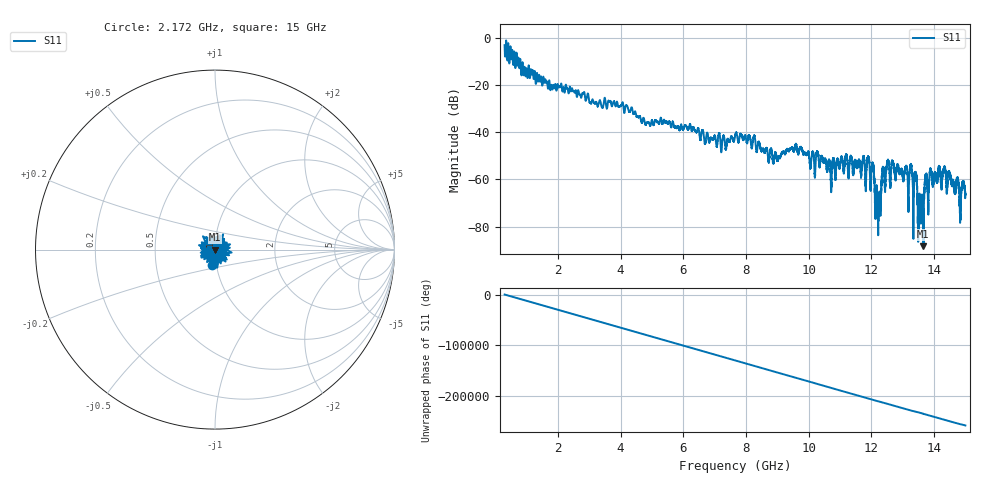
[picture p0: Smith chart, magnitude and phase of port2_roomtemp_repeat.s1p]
# GHZ S RI R 50.0
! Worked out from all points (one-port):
!   12801 points, 300 MHz to 15 GHz, reference 50 ohm
!   lowest |S11| = -88.2 dB at 13.66 GHz (marker M1), VSWR 1.00, Z = 50 - j0.00252 ohm
!   |S11| at or under -10 dB: 624.8 MHz to 662.3 MHz (37.53 MHz wide, 5.83 % of centre); 748.4 MHz to 790.7 MHz (42.32 MHz wide, 5.5 % of centre); 805.6 MHz to end of sweep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
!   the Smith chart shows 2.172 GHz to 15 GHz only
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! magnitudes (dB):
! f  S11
! 300 MHz  -3.1
! 966.1 MHz  -16.2
! 2.138 GHz  -22.4
! 3.975 GHz  -29.1
! 4.84 GHz  -36.0
! 5.812 GHz  -37.8
! 7.398 GHz  -43.5
! 7.65 GHz  -41.6
! 8.922 GHz  -49.1
! 9.488 GHz  -46.5
! 10.47 GHz  -52.4
! 10.66 GHz  -51.8
! 11.32 GHz  -51.1
! 11.9 GHz  -50.4
! 12.05 GHz  -53.3
! 12.19 GHz  -68.1
! 12.26 GHz  -67.5
! 12.34 GHz  -58.0
! 12.52 GHz  -52.5
! 13.16 GHz  -61.2
! 13.42 GHz  -57.4
! 13.54 GHz  -69.3
! 13.66 GHz  -88.2
! 13.9 GHz  -56.2
! 14.13 GHz  -57.4
! 14.51 GHz  -58.5
! 14.84 GHz  -74.5
! 15 GHz  -66.0
